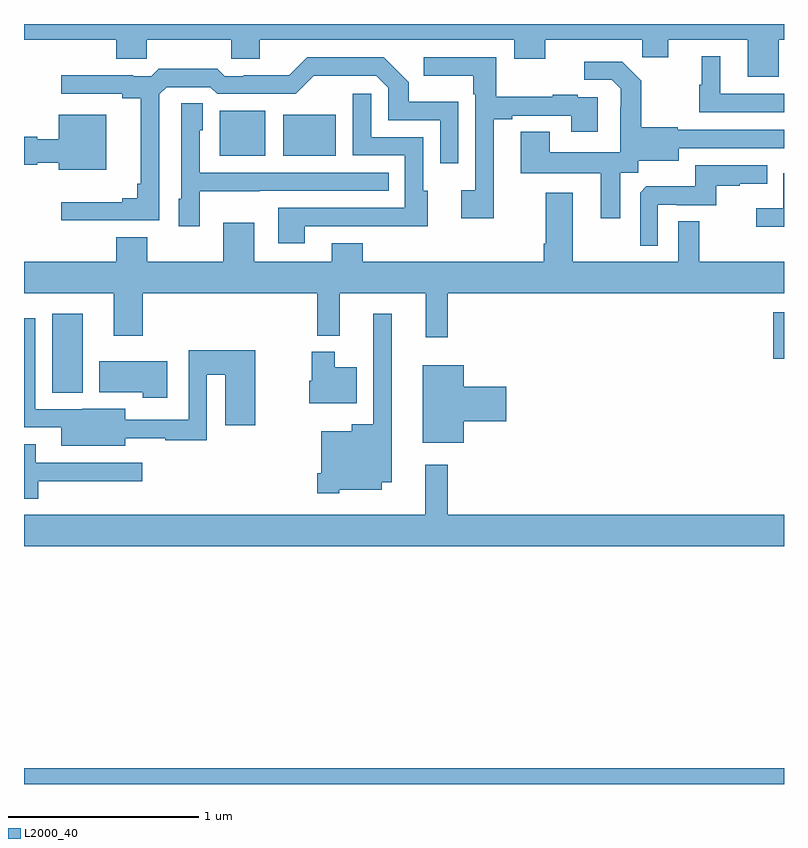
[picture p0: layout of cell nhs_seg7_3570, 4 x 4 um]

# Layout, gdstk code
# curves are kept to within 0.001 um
import gdstk
lib = gdstk.Library(unit=1e-6, precision=1e-09)
def R(c, l, rs):  # rectangles x0, y0, x1, y1
    for r in rs: c.add(gdstk.rectangle(r[:2], r[2:], *l))
def P(c, l, *ps):  # polygons
    for p in ps: c.add(gdstk.Polygon(p, *l))
L2000_40 = (2000, 40)

nhs_seg7_3570 = lib.new_cell('nhs_seg7_3570')
R(nhs_seg7_3570, L2000_40, [(339,1030,343,1030.084), (339.149,1032.059,339.31,1032.475), (342.944,1032.239,343,1032.484), (340.031,1033.307,340.27,1033.543), (340.364,1033.307,340.642,1033.522)])
P(nhs_seg7_3570, L2000_40, [(339,1033.916),(339.485,1033.916),(339.485,1033.818),(339.645,1033.818),(339.645,1033.916),(340.09,1033.916),(340.09,1033.818),(340.24,1033.818),(340.24,1033.916),(341.579,1033.916),(341.579,1033.817),(341.743,1033.817),(341.743,1033.916),(342.253,1033.916),(342.253,1033.826),(342.391,1033.826),(342.391,1033.916),(342.809,1033.916),(342.809,1033.722),(342.973,1033.722),(342.973,1033.916),(343,1033.916),(343,1034),(339,1034)],
  [(343,1033.632),(342.664,1033.632),(342.664,1033.831),(342.566,1033.831),(342.566,1033.68),(342.555,1033.68),(342.555,1033.536),(343,1033.536)],
  [(341.473,1033.5),(341.569,1033.5),(341.569,1033.518),(341.879,1033.518),(341.879,1033.434),(342.019,1033.434),(342.019,1033.614),(341.915,1033.614),(341.915,1033.627),(341.783,1033.627),(341.783,1033.616),(341.485,1033.616),(341.485,1033.824),(341.103,1033.824),(341.103,1033.727),(341.364,1033.727),(341.364,1033.631),(341.376,1033.631),(341.376,1033.126),(341.301,1033.126),(341.301,1032.978),(341.473,1032.978)],
  [(339.711,1033.629),(339.75,1033.668),(339.981,1033.668),(340.017,1033.632),(340.431,1033.632),(340.526,1033.727),(340.854,1033.728),(340.917,1033.665),(340.917,1033.494),(341.19,1033.494),(341.19,1033.266),(341.286,1033.266),(341.286,1033.591),(341.025,1033.591),(341.025,1033.694),(340.894,1033.824),(340.491,1033.824),(340.397,1033.73),(340.156,1033.73),(340.156,1033.725),(340.056,1033.725),(340.017,1033.765),(339.709,1033.765),(339.669,1033.725),(339.575,1033.725),(339.575,1033.73),(339.195,1033.73),(339.195,1033.632),(339.518,1033.632),(339.518,1033.61),(339.614,1033.61),(339.614,1033.159),(339.595,1033.159),(339.595,1033.082),(339.518,1033.082),(339.518,1033.063),(339.195,1033.063),(339.195,1032.966),(339.711,1032.966)],
  [(342.139,1033.216),(342.234,1033.216),(342.234,1033.28),(342.445,1033.28),(342.445,1033.347),(343,1033.347),(343,1033.443),(342.441,1033.443),(342.441,1033.456),(342.249,1033.456),(342.249,1033.701),(342.149,1033.801),(341.949,1033.801),(341.949,1033.707),(342.093,1033.707),(342.14,1033.66),(342.14,1033.565),(342.138,1033.565),(342.138,1033.324),(341.767,1033.324),(341.767,1033.433),(341.615,1033.433),(341.615,1033.214),(342.035,1033.214),(342.035,1032.978),(342.139,1032.978)],
  [(340.477,1032.936),(340.907,1032.936),(340.907,1032.935),(341.125,1032.935),(341.125,1033.122),(341.1,1033.122),(341.1,1033.404),(340.827,1033.404),(340.827,1033.632),(340.731,1033.632),(340.731,1033.308),(341.004,1033.308),(341.004,1033.032),(340.337,1033.032),(340.337,1032.846),(340.477,1032.846)],
  [(339.924,1033.121),(340.241,1033.121),(340.241,1033.122),(340.919,1033.122),(340.919,1033.218),(339.924,1033.218),(339.924,1033.44),(339.94,1033.44),(339.94,1033.583),(339.828,1033.583),(339.828,1033.08),(339.815,1033.08),(339.815,1032.936),(339.924,1032.936)],
  [(339.433,1033.522),(339.182,1033.522),(339.182,1033.393),(339.069,1033.393),(339.069,1033.406),(339,1033.406),(339,1033.259),(339.069,1033.259),(339.069,1033.271),(339.182,1033.271),(339.182,1033.232),(339.433,1033.232)],
  [(342.336,1033.05),(342.436,1033.05),(342.436,1033.047),(342.644,1033.047),(342.644,1033.149),(342.767,1033.149),(342.767,1033.16),(342.911,1033.16),(342.911,1033.257),(342.534,1033.257),(342.534,1033.145),(342.275,1033.145),(342.243,1033.113),(342.243,1032.833),(342.336,1032.833)],
  [(343,1033.215),(342.996,1033.215),(342.996,1033.03),(342.855,1033.03),(342.855,1032.932),(343,1032.932)],
  [(340.619,1032.748),(340.213,1032.748),(340.213,1032.955),(340.049,1032.955),(340.049,1032.748),(339.649,1032.748),(339.649,1032.877),(339.485,1032.877),(339.485,1032.748),(339,1032.748),(339,1032.584),(339.473,1032.584),(339.473,1032.36),(339.626,1032.36),(339.626,1032.584),(340.543,1032.584),(340.543,1032.359),(340.661,1032.359),(340.661,1032.584),(341.114,1032.584),(341.114,1032.351),(341.231,1032.351),(341.231,1032.584),(343,1032.584),(343,1032.748),(342.553,1032.748),(342.553,1032.962),(342.444,1032.962),(342.444,1032.748),(341.887,1032.748),(341.887,1033.111),(341.747,1033.111),(341.747,1032.844),(341.735,1032.844),(341.735,1032.748),(340.783,1032.748),(340.783,1032.847),(340.619,1032.847)],
  [(340.659,1031.549),(340.882,1031.549),(340.882,1031.588),(340.936,1031.588),(340.936,1032.475),(340.839,1032.475),(340.839,1031.893),(340.724,1031.893),(340.724,1031.857),(340.565,1031.857),(340.565,1031.635),(340.544,1031.635),(340.544,1031.531),(340.659,1031.531)],
  [(339.532,1031.82),(339.744,1031.82),(339.744,1031.808),(339.963,1031.808),(339.963,1032.154),(340.058,1032.154),(340.058,1031.889),(340.216,1031.889),(340.216,1032.283),(339.867,1032.283),(339.867,1031.916),(339.532,1031.916),(339.532,1031.974),(339.306,1031.974),(339.306,1031.973),(339.06,1031.973),(339.06,1032.451),(339,1032.451),(339,1031.877),(339.197,1031.877),(339.197,1031.78),(339.532,1031.78)],
  [(340.75,1032.193),(340.636,1032.193),(340.636,1032.274),(340.514,1032.274),(340.514,1032.123),(340.502,1032.123),(340.502,1032.005),(340.75,1032.005)],
  [(339.754,1032.226),(339.395,1032.226),(339.395,1032.062),(339.625,1032.062),(339.625,1032.032),(339.754,1032.032)],
  [(341.314,1031.909),(341.539,1031.909),(341.539,1032.092),(341.314,1032.092),(341.314,1032.205),(341.099,1032.205),(341.099,1031.795),(341.314,1031.795)],
  [(339.074,1031.594),(339.622,1031.594),(339.622,1031.691),(339.061,1031.691),(339.061,1031.787),(339,1031.787),(339,1031.502),(339.074,1031.502)],
  [(343,1031.416),(341.231,1031.416),(341.231,1031.68),(341.113,1031.68),(341.113,1031.416),(339,1031.416),(339,1031.252),(343,1031.252)])

lib.write_gds('nhs_seg7_3570.gds')
